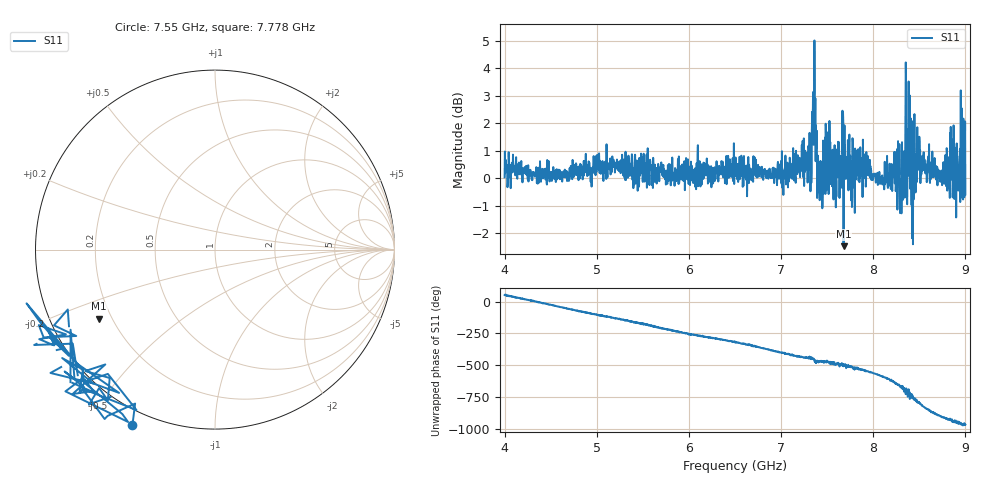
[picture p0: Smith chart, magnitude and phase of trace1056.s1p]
! Created with skrf 1.8.0 (http://scikit-rf.org).
# Hz S RI R 50.0
!freq ReS11 ImS11
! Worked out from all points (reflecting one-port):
!   1601 points, 4 GHz to 9 GHz, reference 50 ohm
!   lowest |S11| = -2.5 dB at 7.678 GHz (marker M1), VSWR 7.05, Z = 7.62 - j13.5 ohm
!   phase of S11 starts at 52 deg and turns -1021 deg over the sweep
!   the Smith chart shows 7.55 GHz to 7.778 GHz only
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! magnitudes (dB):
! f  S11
! 4 GHz  0.0
! 4.625 GHz  -0.1
! 5.25 GHz  0.4
! 5.875 GHz  0.1
! 6.5 GHz  0.7
! 7.125 GHz  0.1
! 7.306 GHz  1.0
! 7.359 GHz  3.1
! 7.381 GHz  1.1
! 7.4 GHz  0.8
! 7.428 GHz  0.6
! 7.509 GHz  1.0
! 7.591 GHz  1.1
! 7.678 GHz  -2.5
! 7.75 GHz  0.8
! 8.097 GHz  0.1
! 8.259 GHz  1.1
! 8.316 GHz  -0.3
! 8.338 GHz  0.2
! 8.375 GHz  1.8
! 8.419 GHz  2.1
! 8.447 GHz  2.3
! 8.466 GHz  0.3
! 8.75 GHz  0.0
! 8.859 GHz  1.1
! 8.919 GHz  -0.2
! 8.959 GHz  2.5
! 9 GHz  -0.6
